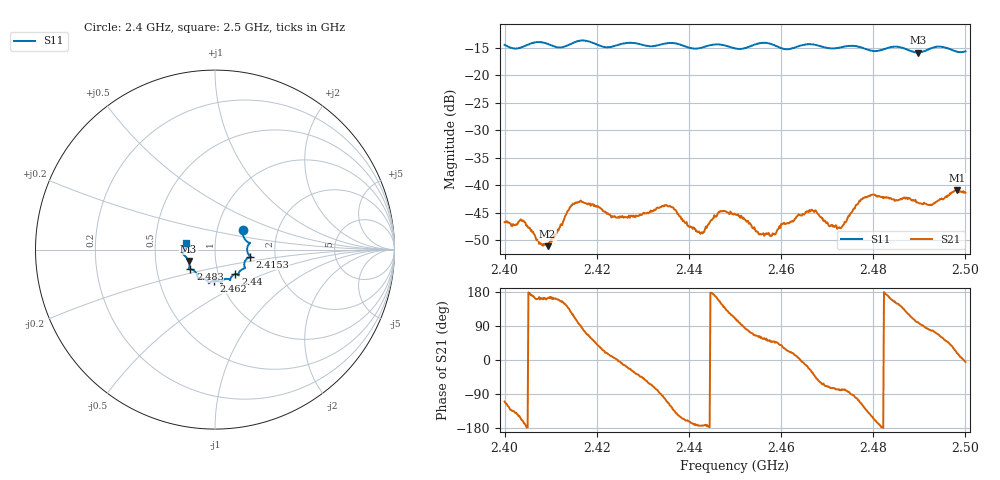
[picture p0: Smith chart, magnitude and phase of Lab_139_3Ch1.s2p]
# Hz S RI R 50
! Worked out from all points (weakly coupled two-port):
!   601 points, 2.4 GHz to 2.5 GHz, reference 50 ohm
!   highest |S21| = -40.93 dB at 2.4982 GHz (marker M1); lowest = -51.1 dB at 2.4093 GHz (marker M2)
!   lowest |S11| = -15.9 dB at 2.4897 GHz (marker M3), VSWR 1.38, Z = 36.9 - j4.81 ohm
!   |S11| at or under -10 dB: start of sweep to end of sweep
!   S12 and S22 are empty: the file has one direction only
!   S11 on the Smith chart (normalised r, x): 2.4 GHz: 1.33, +0.29; 2.4153 GHz: 1.48, -0.12; 2.44 GHz: 1.20, -0.34; 2.462 GHz: 0.93, -0.33; 2.483 GHz: 0.74, -0.17; 2.5 GHz: 0.72, +0.06
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2.4e9  0.1551 0.1066  -0.00155 -0.00433  0 0  0 0
2.404e9  0.1748 0.0478  -0.00451 -0.00155  0 0  0 0
2.409333e9  0.1897 0.0318  -0.00266 0.000815  0 0  0 0
2.415333e9  0.1964 -0.0387  -0.00232 0.00652  0 0  0 0
2.416667e9  0.202 -0.0429  0.000438 0.00712  0 0  0 0
2.424333e9  0.1633 -0.0901  0.00505 0.000114  0 0  0 0
2.433333e9  0.1311 -0.1338  0.000805 -0.00619  0 0  0 0
2.436333e9  0.1324 -0.1449  -0.00369 -0.0051  0 0  0 0
2.44e9  0.1138 -0.1365  -0.00399 -0.0013  0 0  0 0
2.442833e9  0.0901 -0.1535  -0.00368 -0.000457  0 0  0 0
2.446833e9  0.0845 -0.1695  -0.00512 0.00277  0 0  0 0
2.45e9  0.0647 -0.1628  -0.00179 0.00513  0 0  0 0
2.455833e9  0.0378 -0.1928  0.00192 0.00301  0 0  0 0
2.462e9  -0.00525 -0.1732  0.00435 0.00163  0 0  0 0
2.466667e9  -0.0344 -0.1876  0.00504 -0.00321  0 0  0 0
2.472667e9  -0.0768 -0.1605  0.000882 -0.00404  0 0  0 0
2.477833e9  -0.0981 -0.1461  -0.00402 -0.00652  0 0  0 0
2.483e9  -0.1375 -0.1096  -0.00759 0.00113  0 0  0 0
2.483333e9  -0.1401 -0.1094  -0.00751 0.00162  0 0  0 0
2.489667e9  -0.1473 -0.0635  -0.00118 0.00684  0 0  0 0
2.498167e9  -0.1631 0.00785  0.00854 0.00277  0 0  0 0
2.5e9  -0.1598 0.0393  0.0085 -0.000747  0 0  0 0
